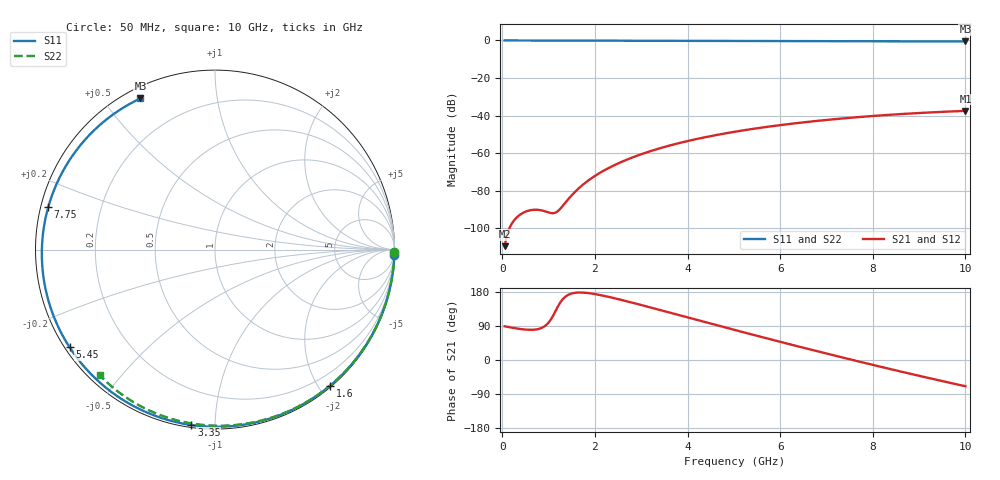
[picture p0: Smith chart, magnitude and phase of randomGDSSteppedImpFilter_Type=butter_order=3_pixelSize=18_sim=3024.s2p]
! freq	dB(S11)	phase(S11)	dB(S12)	phase(S12)
!  dB(S21)	phase(S21)	dB(S22)	phase(S22)
!S-par simulation data
#  GHz  S  DB  R 50
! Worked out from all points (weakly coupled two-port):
!   200 points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, 50 MHz to 10 GHz, reference 50 ohm
!   highest |S21| = -37.48 dB at 10 GHz (marker M1); lowest = -109.5 dB at 50 MHz (marker M2)
!   lowest |S11| = -0.5 dB at 10 GHz (marker M3), VSWR 31.88, Z = 2.17 + j31 ohm
!   |S11| at or under -10 dB: nowhere
!   |S22| runs from -0.4 to 0.0 dB; largest |S21 - S12| = 0
!   S11 on the Smith chart (normalised r, x): 50 MHz: 0, -71; 1.6 GHz: 0.02, -2.16; 3.35 GHz: 0.01, -0.87; 5.45 GHz: 0.01, -0.30; 7.75 GHz: 0.02, +0.13; 10 GHz: 0.04, +0.62
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0.05  -0.00 -1.6  -109.48 88.9  -109.48 88.9  -0.00 -0.8
0.4  -0.02 -12.7  -92.45 81.6  -92.45 81.6  -0.01 -6.1
0.8  -0.03 -25.3  -90.22 82.4  -90.22 82.4  -0.02 -12.2
1.2  -0.05 -37.7  -90.85 141.1  -90.85 141.1  -0.02 -18.2
1.6  -0.06 -49.7  -79.85 177.7  -79.85 177.7  -0.03 -24.2
1.75  -0.07 -54.1  -76.57 177.8  -76.57 177.8  -0.03 -26.4
2.05  -0.08 -62.8  -71.32 172.9  -71.32 172.9  -0.04 -30.8
2.4  -0.09 -72.6  -66.61 163.7  -66.61 163.7  -0.05 -35.9
2.85  -0.10 -84.8  -61.88 149.9  -61.88 149.9  -0.06 -42.4
3.35  -0.12 -97.6  -57.76 133.8  -57.76 133.8  -0.07 -49.5
3.4  -0.12 -98.9  -57.40 132.2  -57.40 132.2  -0.07 -50.2
4.15  -0.15 -117.1  -52.70 107.5  -52.70 107.5  -0.08 -60.6
4.6  -0.17 -127.4  -50.43 92.8  -50.43 92.8  -0.10 -66.7
5.05  -0.19 -137.4  -48.46 78.2  -48.46 78.2  -0.11 -72.7
5.45  -0.21 -146.1  -46.92 65.4  -46.92 65.4  -0.13 -77.9
6.1  -0.25 -159.9  -44.75 44.9  -44.75 44.9  -0.15 -86.2
6.7  -0.29 -172.4  -43.06 26.3  -43.06 26.3  -0.18 -93.7
7.2  -0.32 177.2  -41.84 11.0  -41.84 11.0  -0.21 -99.8
7.75  -0.37 165.7  -40.67 -5.5  -40.67 -5.5  -0.24 -106.4
8.35  -0.41 153.0  -39.59 -23.1  -39.59 -23.1  -0.29 -113.4
9.15  -0.48 135.6  -38.41 -45.9  -38.41 -45.9  -0.36 -122.7
10  -0.55 116.3  -37.48 -69.2  -37.48 -69.2  -0.45 -132.4
